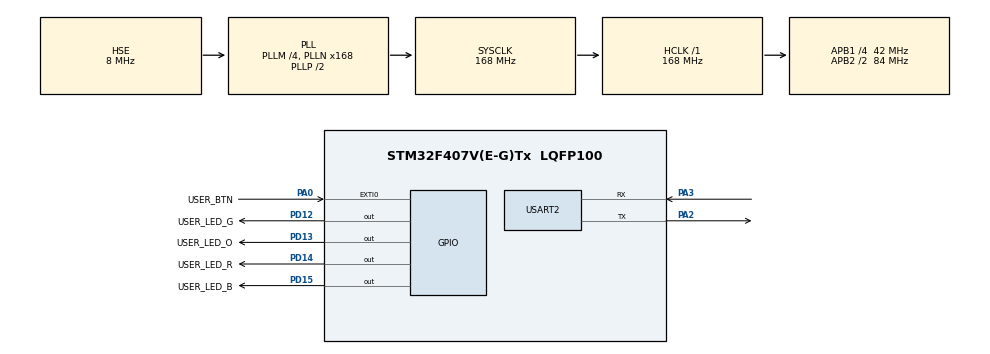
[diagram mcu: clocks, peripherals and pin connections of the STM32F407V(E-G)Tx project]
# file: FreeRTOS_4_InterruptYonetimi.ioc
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FREERTOS.BinarySemaphores01=xBinarySemaphore,Dynamic,NULL
FREERTOS.Tasks01=PeriodicTask,0,128,vPeriodicTask,Default,NULL,Dynamic,NULL,NULL;HandlerTask,1,128,HandlerFunction,Default,NULL,Dynamic,NULL,NULL
Mcu.Family=STM32F4
Mcu.Name=STM32F407V(E-G)Tx
Mcu.Package=LQFP100
NVIC.EXTI0_IRQn=true\:5\:0\:true\:false\:false\:false\:true\:false
NVIC.PriorityGroup=NVIC_PRIORITYGROUP_4
NVIC.TIM1_UP_TIM10_IRQn=true\:0\:0\:false\:false\:true\:false\:false\:true
NVIC.TimeBase=TIM1_UP_TIM10_IRQn
NVIC.TimeBaseIP=TIM1
PA0-WKUP.GPIO_Label=USER_BTN
PA0-WKUP.GPIO_PuPd=GPIO_PULLDOWN
PA0-WKUP.Signal=GPXTI0
PA2.Mode=Asynchronous
PA2.Signal=USART2_TX
PA3.Mode=Asynchronous
PA3.Signal=USART2_RX
PD12.GPIO_Label=USER_LED_G
PD12.Signal=GPIO_Output
PD13.GPIO_Label=USER_LED_O
PD13.Signal=GPIO_Output
PD14.GPIO_Label=USER_LED_R
PD14.Signal=GPIO_Output
PD15.GPIO_Label=USER_LED_B
PD15.Signal=GPIO_Output
PH0-OSC_IN.Mode=HSE-External-Oscillator
PH0-OSC_IN.Signal=RCC_OSC_IN
PH1-OSC_OUT.Mode=HSE-External-Oscillator
PH1-OSC_OUT.Signal=RCC_OSC_OUT
ProjectManager.HeapSize=0x200
ProjectManager.StackSize=0x400
ProjectManager.TargetToolchain=STM32CubeIDE
RCC.48MHZClocksFreq_Value=84000000
RCC.AHBFreq_Value=168000000
RCC.APB1CLKDivider=RCC_HCLK_DIV4
RCC.APB1Freq_Value=42000000
RCC.APB1TimFreq_Value=84000000
RCC.APB2CLKDivider=RCC_HCLK_DIV2
RCC.APB2Freq_Value=84000000
RCC.APB2TimFreq_Value=168000000
RCC.CortexFreq_Value=168000000
RCC.HCLKFreq_Value=168000000
RCC.HSE_VALUE=8000000
RCC.HSI_VALUE=16000000
RCC.LSE_VALUE=32768
RCC.PLLM=4
RCC.PLLN=168
RCC.PLLSourceVirtual=RCC_PLLSOURCE_HSE
RCC.SYSCLKFreq_VALUE=168000000
RCC.SYSCLKSource=RCC_SYSCLKSOURCE_PLLCLK
RCC.VCOOutputFreq_Value=336000000
USART2.VirtualMode=VM_ASYNC
VP_FREERTOS_VS_CMSIS_V1.Mode=CMSIS_V1
VP_SYS_VS_tim1.Mode=TIM1
board=custom

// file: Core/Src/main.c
/* USER CODE BEGIN Header */
/**
  ******************************************************************************
  * @file           : main.c
  * @brief          : Main program body
  ******************************************************************************
  * @attention
  *
  * <h2><center>&copy; Copyright (c) 2020 STMicroelectronics.
  * All rights reserved.</center></h2>
  *
  * This software component is licensed by ST under BSD 3-Clause license,
  * the "License"; You may not use this file except in compliance with the
  * License. You may obtain a copy of the License at:
  *                        opensource.org/licenses/BSD-3-Clause
  *
  ******************************************************************************
  */
/* USER CODE END Header */
#include "main.h"
#include "cmsis_os.h"

/* USER CODE BEGIN Includes */
#include "string.h"
#include "stdio.h"
/* USER CODE END Includes */

UART_HandleTypeDef huart2;

osThreadId PeriodicTaskHandle;
osThreadId HandlerTaskHandle;
osSemaphoreId xBinarySemaphoreHandle;
/* USER CODE BEGIN PV */
SemaphoreHandle_t xBinarySemaphore;

// FreeRTOS tanimlamalari...
TaskHandle_t PeriodicTask;
TaskHandle_t RXHandlerTask;

/* USER CODE END PV */

void SystemClock_Config(void);
static void MX_GPIO_Init(void);
static void MX_USART2_UART_Init(void);
void vPeriodicTask(void const * argument);
void HandlerFunction(void const * argument);

/* USER CODE BEGIN PFP */
void UartPrint(char* message);
/* USER CODE END PFP */

int main(void)
{

  /* MCU Configuration--------------------------------------------------------*/

  /* Reset of all peripherals, Initializes the Flash interface and the Systick. */
  HAL_Init();

  /* Configure the system clock */
  SystemClock_Config();

  /* Initialize all configured peripherals */
  MX_GPIO_Init();
  MX_USART2_UART_Init();

  /* Create the semaphores(s) */
  /* definition and creation of xBinarySemaphore */
  osSemaphoreDef(xBinarySemaphore);
  xBinarySemaphoreHandle = osSemaphoreCreate(osSemaphore(xBinarySemaphore), 1);

  /* USER CODE BEGIN RTOS_SEMAPHORES */

  xBinarySemaphore = xSemaphoreCreateBinary();

  if(xBinarySemaphore != NULL)
  {
	  //FreeRTOS tanimlama ornegi...

	  //PeriodicTask = xTaskCreate((TaskFunction_t)vPeriodicTask, "Periodic Task", 128, NULL, 0, NULL);
	  //RXHandlerTask = xTaskCreate((TaskFunction_t)RXHandler, "RxHandler Task", 128, NULL, 0, NULL);

  }

  /* add semaphores, ... */
  /* USER CODE END RTOS_SEMAPHORES */

  /* Create the thread(s) */
  /* definition and creation of PeriodicTask */
  osThreadDef(PeriodicTask, vPeriodicTask, osPriorityNormal, 0, 128);
  PeriodicTaskHandle = osThreadCreate(osThread(PeriodicTask), NULL);

  /* definition and creation of HandlerTask */
  osThreadDef(HandlerTask, HandlerFunction, osPriorityAboveNormal, 0, 128);
  HandlerTaskHandle = osThreadCreate(osThread(HandlerTask), NULL);

  /* Start scheduler */
  osKernelStart();

  /* We should never get here as control is now taken by the scheduler */
  /* Infinite loop */
  while (1)
  {

  }
}

void SystemClock_Config(void)
{
  RCC_OscInitTypeDef RCC_OscInitStruct = {0};
  RCC_ClkInitTypeDef RCC_ClkInitStruct = {0};

  /** Configure the main internal regulator output voltage
  */
  __HAL_RCC_PWR_CLK_ENABLE();
  __HAL_PWR_VOLTAGESCALING_CONFIG(PWR_REGULATOR_VOLTAGE_SCALE1);
  /** Initializes the RCC Oscillators according to the specified parameters
  * in the RCC_OscInitTypeDef structure.
  */
  RCC_OscInitStruct.OscillatorType = RCC_OSCILLATORTYPE_HSE;
  RCC_OscInitStruct.HSEState = RCC_HSE_ON;
  RCC_OscInitStruct.PLL.PLLState = RCC_PLL_ON;
  RCC_OscInitStruct.PLL.PLLSource = RCC_PLLSOURCE_HSE;
  RCC_OscInitStruct.PLL.PLLM = 4;
  RCC_OscInitStruct.PLL.PLLN = 168;
  RCC_OscInitStruct.PLL.PLLP = RCC_PLLP_DIV2;
  RCC_OscInitStruct.PLL.PLLQ = 4;
  if (HAL_RCC_OscConfig(&RCC_OscInitStruct) != HAL_OK)
  {
    Error_Handler();
  }
  /** Initializes the CPU, AHB and APB buses clocks
  */
  RCC_ClkInitStruct.ClockType = RCC_CLOCKTYPE_HCLK|RCC_CLOCKTYPE_SYSCLK
                              |RCC_CLOCKTYPE_PCLK1|RCC_CLOCKTYPE_PCLK2;
  RCC_ClkInitStruct.SYSCLKSource = RCC_SYSCLKSOURCE_PLLCLK;
  RCC_ClkInitStruct.AHBCLKDivider = RCC_SYSCLK_DIV1;
  RCC_ClkInitStruct.APB1CLKDivider = RCC_HCLK_DIV4;
  RCC_ClkInitStruct.APB2CLKDivider = RCC_HCLK_DIV2;

  if (HAL_RCC_ClockConfig(&RCC_ClkInitStruct, FLASH_LATENCY_5) != HAL_OK)
  {
    Error_Handler();
  }
}

static void MX_USART2_UART_Init(void)
{

  huart2.Instance = USART2;
  huart2.Init.BaudRate = 115200;
  huart2.Init.WordLength = UART_WORDLENGTH_8B;
  huart2.Init.StopBits = UART_STOPBITS_1;
  huart2.Init.Parity = UART_PARITY_NONE;
  huart2.Init.Mode = UART_MODE_TX_RX;
  huart2.Init.HwFlowCtl = UART_HWCONTROL_NONE;
  huart2.Init.OverSampling = UART_OVERSAMPLING_16;
  if (HAL_UART_Init(&huart2) != HAL_OK)
  {
    Error_Handler();
  }

}

static void MX_GPIO_Init(void)
{
  GPIO_InitTypeDef GPIO_InitStruct = {0};

  /* GPIO Ports Clock Enable */
  __HAL_RCC_GPIOH_CLK_ENABLE();
  __HAL_RCC_GPIOA_CLK_ENABLE();
  __HAL_RCC_GPIOD_CLK_ENABLE();

  /*Configure GPIO pin Output Level */
  HAL_GPIO_WritePin(GPIOD, USER_LED_G_Pin|USER_LED_O_Pin|USER_LED_R_Pin|USER_LED_B_Pin, GPIO_PIN_RESET);

  /*Configure GPIO pin : USER_BTN_Pin */
  GPIO_InitStruct.Pin = USER_BTN_Pin;
  GPIO_InitStruct.Mode = GPIO_MODE_IT_RISING;
  GPIO_InitStruct.Pull = GPIO_PULLDOWN;
  HAL_GPIO_Init(USER_BTN_GPIO_Port, &GPIO_InitStruct);

  /*Configure GPIO pins : USER_LED_G_Pin USER_LED_O_Pin USER_LED_R_Pin USER_LED_B_Pin */
  GPIO_InitStruct.Pin = USER_LED_G_Pin|USER_LED_O_Pin|USER_LED_R_Pin|USER_LED_B_Pin;
  GPIO_InitStruct.Mode = GPIO_MODE_OUTPUT_PP;
  GPIO_InitStruct.Pull = GPIO_NOPULL;
  GPIO_InitStruct.Speed = GPIO_SPEED_FREQ_LOW;
  HAL_GPIO_Init(GPIOD, &GPIO_InitStruct);

  /* EXTI interrupt init*/
  HAL_NVIC_SetPriority(EXTI0_IRQn, 5, 0);
  HAL_NVIC_EnableIRQ(EXTI0_IRQn);

}

/* USER CODE BEGIN 4 */

void UartPrint(char* message)
{
	HAL_UART_Transmit(&huart2, (uint8_t*)message, strlen(message), 20);
}

void EXTI0_IRQHandler(void)
{

	if(__HAL_GPIO_EXTI_GET_IT(GPIO_PIN_0) != 0)
	{
		BaseType_t xHigherPriorityTaskWoken = pdFALSE;

		UartPrint("ISR is running...\r\n");

		xSemaphoreGiveFromISR(xBinarySemaphore,&xHigherPriorityTaskWoken);
		__HAL_GPIO_EXTI_CLEAR_IT(GPIO_PIN_0);

		portYIELD_FROM_ISR(xHigherPriorityTaskWoken);
	}

}

/* USER CODE END 4 */

void vPeriodicTask(void const * argument)
{
  /* USER CODE BEGIN 5 */

	const TickType_t xDelay500ms = pdMS_TO_TICKS( 500UL );

  /* Infinite loop */
  for(;;)
  {
	  vTaskDelay( xDelay500ms );

	  HAL_GPIO_TogglePin(USER_LED_B_GPIO_Port, USER_LED_B_Pin);
	  HAL_GPIO_WritePin(USER_LED_G_GPIO_Port, USER_LED_G_Pin, GPIO_PIN_RESET);

	  UartPrint("Bu bir periyodik gorevdir!!!\r\n");
  }
  /* USER CODE END 5 */
}

void HandlerFunction(void const * argument)
{
  /* USER CODE BEGIN HandlerFunction */
  /* Infinite loop */
  for(;;)
  {

	  if(xSemaphoreTake(xBinarySemaphore,portMAX_DELAY) == pdPASS)
	  {
		  HAL_GPIO_WritePin(USER_LED_G_GPIO_Port, USER_LED_G_Pin, GPIO_PIN_SET);
		  UartPrint("Handler fonksiyonuna girdiniz!!\r\n");
	  }

  }
  /* USER CODE END HandlerFunction */
}

void HAL_TIM_PeriodElapsedCallback(TIM_HandleTypeDef *htim)
{
  if (htim->Instance == TIM1) {
    HAL_IncTick();
  }
}

void Error_Handler(void)
{
}

/************************ (C) COPYRIGHT STMicroelectronics *****END OF FILE****/
